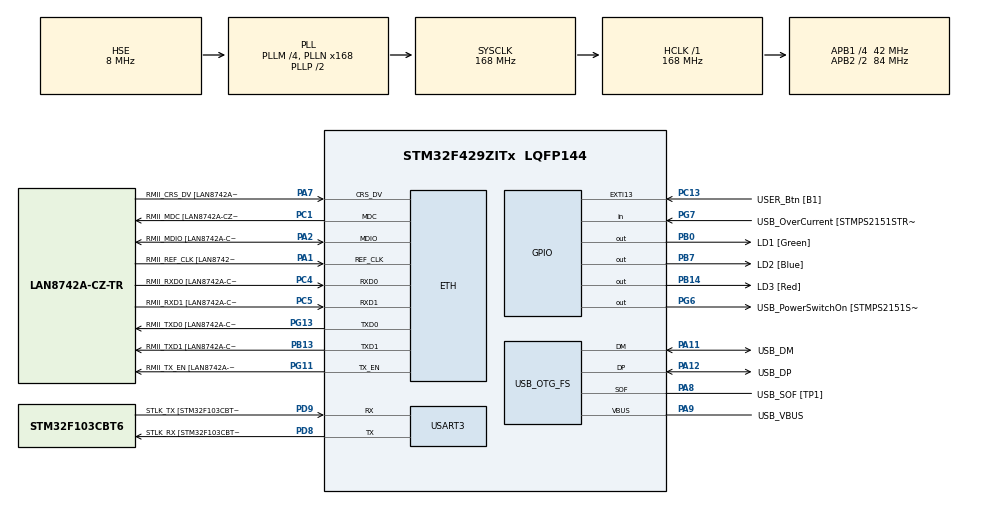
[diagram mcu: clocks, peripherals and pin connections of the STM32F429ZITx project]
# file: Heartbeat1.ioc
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ETH.MediaInterface=ETH_MEDIA_INTERFACE_RMII
ETH.PHY_Name=LAN8742A_PHY_ADDRESS
ETH.PHY_Value=0
ETH.PhyAddress=0
Mcu.Family=STM32F4
Mcu.Name=STM32F429ZITx
Mcu.Package=LQFP144
NVIC.PriorityGroup=NVIC_PRIORITYGROUP_4
PA1.GPIO_Label=RMII_REF_CLK [LAN8742A-CZ-TR_REFCLK0]
PA1.Mode=RMII
PA1.Signal=ETH_REF_CLK
PA10.GPIO_Label=USB_ID
PA10.Signal=USB_OTG_FS_ID
PA11.GPIO_Label=USB_DM
PA11.Mode=Device_Only
PA11.Signal=USB_OTG_FS_DM
PA12.GPIO_Label=USB_DP
PA12.Mode=Device_Only
PA12.Signal=USB_OTG_FS_DP
PA13.GPIO_Label=TMS
PA13.Mode=Serial_Wire
PA13.Signal=SYS_JTMS-SWDIO
PA14.GPIO_Label=TCK
PA14.Mode=Serial_Wire
PA14.Signal=SYS_JTCK-SWCLK
PA2.GPIO_Label=RMII_MDIO [LAN8742A-CZ-TR_MDIO]
PA2.Mode=RMII
PA2.Signal=ETH_MDIO
PA7.GPIO_Label=RMII_CRS_DV [LAN8742A-CZ-TR_CRS_DV]
PA7.Mode=RMII
PA7.Signal=ETH_CRS_DV
PA8.GPIO_Label=USB_SOF [TP1]
PA8.Mode=Activate_SOF_FS
PA8.Signal=USB_OTG_FS_SOF
PA9.GPIO_Label=USB_VBUS
PA9.Mode=Activate_VBUS
PA9.Signal=USB_OTG_FS_VBUS
PB0.GPIO_Label=LD1 [Green]
PB0.Signal=GPIO_Output
PB13.GPIO_Label=RMII_TXD1 [LAN8742A-CZ-TR_TXD1]
PB13.Mode=RMII
PB13.Signal=ETH_TXD1
PB14.GPIO_Label=LD3 [Red]
PB14.Signal=GPIO_Output
PB7.GPIO_Label=LD2 [Blue]
PB7.Signal=GPIO_Output
PC1.GPIO_Label=RMII_MDC [LAN8742A-CZ-TR_MDC]
PC1.Mode=RMII
PC1.Signal=ETH_MDC
PC13.GPIO_Label=USER_Btn [B1]
PC13.Signal=GPXTI13
PC14/OSC32_IN.Mode=LSE-External-Oscillator
PC14/OSC32_IN.Signal=RCC_OSC32_IN
PC15/OSC32_OUT.Mode=LSE-External-Oscillator
PC15/OSC32_OUT.Signal=RCC_OSC32_OUT
PC4.GPIO_Label=RMII_RXD0 [LAN8742A-CZ-TR_RXD0]
PC4.Mode=RMII
PC4.Signal=ETH_RXD0
PC5.GPIO_Label=RMII_RXD1 [LAN8742A-CZ-TR_RXD1]
PC5.Mode=RMII
PC5.Signal=ETH_RXD1
PD8.GPIO_Label=STLK_RX [STM32F103CBT6_PA3]
PD8.Mode=Asynchronous
PD8.Signal=USART3_TX
PD9.GPIO_Label=STLK_TX [STM32F103CBT6_PA2]
PD9.Mode=Asynchronous
PD9.Signal=USART3_RX
PG11.GPIO_Label=RMII_TX_EN [LAN8742A-CZ-TR_TXEN]
PG11.Mode=RMII
PG11.Signal=ETH_TX_EN
PG13.GPIO_Label=RMII_TXD0 [LAN8742A-CZ-TR_TXD0]
PG13.Mode=RMII
PG13.Signal=ETH_TXD0
PG6.GPIO_Label=USB_PowerSwitchOn [STMPS2151STR_EN]
PG6.Signal=GPIO_Output
PG7.GPIO_Label=USB_OverCurrent [STMPS2151STR_FAULT]
PG7.Signal=GPIO_Input
PH0/OSC_IN.GPIO_Label=MCO [STM32F103CBT6_PA8]
PH0/OSC_IN.Mode=HSE-External-Clock-Source
PH0/OSC_IN.Signal=RCC_OSC_IN
PH1/OSC_OUT.Mode=HSE-External-Clock-Source
PH1/OSC_OUT.Signal=RCC_OSC_OUT
ProjectManager.HeapSize=0x200
ProjectManager.StackSize=0x400
ProjectManager.TargetToolchain=TrueSTUDIO
RCC.48MHZClocksFreq_Value=48000000
RCC.AHBFreq_Value=168000000
RCC.APB1CLKDivider=RCC_HCLK_DIV4
RCC.APB1Freq_Value=42000000
RCC.APB1TimFreq_Value=84000000
RCC.APB2CLKDivider=RCC_HCLK_DIV2
RCC.APB2Freq_Value=84000000
RCC.APB2TimCLKDivider=2
RCC.APB2TimFreq_Value=168000000
RCC.CortexFreq_Value=168000000
RCC.HCLKFreq_Value=168000000
RCC.HSE_VALUE=8000000
RCC.HSI_VALUE=16000000
RCC.PLLM=4
RCC.PLLMUL=RCC_PLL_MUL9
RCC.PLLN=168
RCC.PLLQ=7
RCC.PRESCALERUSB=RCC_USBCLKSOURCE_PLL_DIV1_5
RCC.SYSCLKFreq_VALUE=168000000
RCC.SYSCLKSource=RCC_SYSCLKSOURCE_PLLCLK
RCC.SYSCLKSourceVirtual=RCC_SYSCLKSOURCE_PLLCLK
RCC.USBFreq_Value=48000000
RCC.VCOOutputFreq_Value=336000000
USART3.VirtualMode=VM_ASYNC
USB_OTG_FS.VirtualMode=Device_Only
board=NUCLEO-F429ZI

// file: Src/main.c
/* USER CODE BEGIN Header */
/**
  ******************************************************************************
  * @file           : main.c
  * @brief          : Main program body
  ******************************************************************************
  ** This notice applies to any and all portions of this file
  * that are not between comment pairs USER CODE BEGIN and
  * USER CODE END. Other portions of this file, whether
  * inserted by the user or by software development tools
  * are owned by their respective copyright owners.
  *
  * COPYRIGHT(c) 2019 STMicroelectronics
  *
  * Redistribution and use in source and binary forms, with or without modification,
  * are permitted provided that the following conditions are met:
  *   1. Redistributions of source code must retain the above copyright notice,
  *      this list of conditions and the following disclaimer.
  *   2. Redistributions in binary form must reproduce the above copyright notice,
  *      this list of conditions and the following disclaimer in the documentation
  *      and/or other materials provided with the distribution.
  *   3. Neither the name of STMicroelectronics nor the names of its contributors
  *      may be used to endorse or promote products derived from this software
  *      without specific prior written permission.
  *
  * THIS SOFTWARE IS PROVIDED BY THE COPYRIGHT HOLDERS AND CONTRIBUTORS "AS IS"
  * AND ANY EXPRESS OR IMPLIED WARRANTIES, INCLUDING, BUT NOT LIMITED TO, THE
  * IMPLIED WARRANTIES OF MERCHANTABILITY AND FITNESS FOR A PARTICULAR PURPOSE ARE
  * DISCLAIMED. IN NO EVENT SHALL THE COPYRIGHT HOLDER OR CONTRIBUTORS BE LIABLE
  * FOR ANY DIRECT, INDIRECT, INCIDENTAL, SPECIAL, EXEMPLARY, OR CONSEQUENTIAL
  * DAMAGES (INCLUDING, BUT NOT LIMITED TO, PROCUREMENT OF SUBSTITUTE GOODS OR
  * SERVICES; LOSS OF USE, DATA, OR PROFITS; OR BUSINESS INTERRUPTION) HOWEVER
  * CAUSED AND ON ANY THEORY OF LIABILITY, WHETHER IN CONTRACT, STRICT LIABILITY,
  * OR TORT (INCLUDING NEGLIGENCE OR OTHERWISE) ARISING IN ANY WAY OUT OF THE USE
  * OF THIS SOFTWARE, EVEN IF ADVISED OF THE POSSIBILITY OF SUCH DAMAGE.
  *
  ******************************************************************************
  */
/* USER CODE END Header */

#include "main.h"

ETH_HandleTypeDef heth;

UART_HandleTypeDef huart3;

PCD_HandleTypeDef hpcd_USB_OTG_FS;

void SystemClock_Config(void);
static void MX_GPIO_Init(void);
static void MX_ETH_Init(void);
static void MX_USART3_UART_Init(void);
static void MX_USB_OTG_FS_PCD_Init(void);

/* USER CODE BEGIN 0 */
void delay_LED()
{
	volatile int cpt = 0;
	for (volatile int i = 0; i < 10000000; i++);
	cpt++;
}
/* USER CODE END 0 */

int main(void)
{

  /* MCU Configuration--------------------------------------------------------*/

  /* Reset of all peripherals, Initializes the Flash interface and the Systick. */
  HAL_Init();

  /* Configure the system clock */
  SystemClock_Config();

  /* Initialize all configured peripherals */
  MX_GPIO_Init();
  MX_ETH_Init();
  MX_USART3_UART_Init();
  MX_USB_OTG_FS_PCD_Init();

  /* Infinite loop */
  /* USER CODE BEGIN WHILE */
  while (1)
  {
	  HAL_GPIO_WritePin(GPIOB, LD3_Pin, 1);
	  delay_LED();
	  HAL_GPIO_WritePin(GPIOB, LD2_Pin, 1);
	  delay_LED();
	  HAL_GPIO_WritePin(GPIOB, LD1_Pin, 1);
	  delay_LED();

	  HAL_GPIO_WritePin(GPIOB, LD3_Pin, 0);
	  delay_LED();
	  HAL_GPIO_WritePin(GPIOB, LD2_Pin, 0);
	  delay_LED();
	  HAL_GPIO_WritePin(GPIOB, LD1_Pin, 0);
	  delay_LED();
    /* USER CODE END WHILE */

  }
}

void SystemClock_Config(void)
{
  RCC_OscInitTypeDef RCC_OscInitStruct = {0};
  RCC_ClkInitTypeDef RCC_ClkInitStruct = {0};

  /**Configure the main internal regulator output voltage
  */
  __HAL_RCC_PWR_CLK_ENABLE();
  __HAL_PWR_VOLTAGESCALING_CONFIG(PWR_REGULATOR_VOLTAGE_SCALE1);
  /**Initializes the CPU, AHB and APB busses clocks
  */
  RCC_OscInitStruct.OscillatorType = RCC_OSCILLATORTYPE_HSE;
  RCC_OscInitStruct.HSEState = RCC_HSE_BYPASS;
  RCC_OscInitStruct.PLL.PLLState = RCC_PLL_ON;
  RCC_OscInitStruct.PLL.PLLSource = RCC_PLLSOURCE_HSE;
  RCC_OscInitStruct.PLL.PLLM = 4;
  RCC_OscInitStruct.PLL.PLLN = 168;
  RCC_OscInitStruct.PLL.PLLP = RCC_PLLP_DIV2;
  RCC_OscInitStruct.PLL.PLLQ = 7;
  if (HAL_RCC_OscConfig(&RCC_OscInitStruct) != HAL_OK)
  {
    Error_Handler();
  }
  /**Initializes the CPU, AHB and APB busses clocks
  */
  RCC_ClkInitStruct.ClockType = RCC_CLOCKTYPE_HCLK|RCC_CLOCKTYPE_SYSCLK
                              |RCC_CLOCKTYPE_PCLK1|RCC_CLOCKTYPE_PCLK2;
  RCC_ClkInitStruct.SYSCLKSource = RCC_SYSCLKSOURCE_PLLCLK;
  RCC_ClkInitStruct.AHBCLKDivider = RCC_SYSCLK_DIV1;
  RCC_ClkInitStruct.APB1CLKDivider = RCC_HCLK_DIV4;
  RCC_ClkInitStruct.APB2CLKDivider = RCC_HCLK_DIV2;

  if (HAL_RCC_ClockConfig(&RCC_ClkInitStruct, FLASH_LATENCY_5) != HAL_OK)
  {
    Error_Handler();
  }
}

static void MX_ETH_Init(void)
{

   uint8_t MACAddr[6] ;

  heth.Instance = ETH;
  heth.Init.AutoNegotiation = ETH_AUTONEGOTIATION_ENABLE;
  heth.Init.PhyAddress = LAN8742A_PHY_ADDRESS;
  MACAddr[0] = 0x00;
  MACAddr[1] = 0x80;
  MACAddr[2] = 0xE1;
  MACAddr[3] = 0x00;
  MACAddr[4] = 0x00;
  MACAddr[5] = 0x00;
  heth.Init.MACAddr = &MACAddr[0];
  heth.Init.RxMode = ETH_RXPOLLING_MODE;
  heth.Init.ChecksumMode = ETH_CHECKSUM_BY_HARDWARE;
  heth.Init.MediaInterface = ETH_MEDIA_INTERFACE_RMII;

  if (HAL_ETH_Init(&heth) != HAL_OK)
  {
    Error_Handler();
  }

}

static void MX_USART3_UART_Init(void)
{

  huart3.Instance = USART3;
  huart3.Init.BaudRate = 115200;
  huart3.Init.WordLength = UART_WORDLENGTH_8B;
  huart3.Init.StopBits = UART_STOPBITS_1;
  huart3.Init.Parity = UART_PARITY_NONE;
  huart3.Init.Mode = UART_MODE_TX_RX;
  huart3.Init.HwFlowCtl = UART_HWCONTROL_NONE;
  huart3.Init.OverSampling = UART_OVERSAMPLING_16;
  if (HAL_UART_Init(&huart3) != HAL_OK)
  {
    Error_Handler();
  }

}

static void MX_USB_OTG_FS_PCD_Init(void)
{

  hpcd_USB_OTG_FS.Instance = USB_OTG_FS;
  hpcd_USB_OTG_FS.Init.dev_endpoints = 4;
  hpcd_USB_OTG_FS.Init.speed = PCD_SPEED_FULL;
  hpcd_USB_OTG_FS.Init.dma_enable = DISABLE;
  hpcd_USB_OTG_FS.Init.ep0_mps = DEP0CTL_MPS_64;
  hpcd_USB_OTG_FS.Init.phy_itface = PCD_PHY_EMBEDDED;
  hpcd_USB_OTG_FS.Init.Sof_enable = ENABLE;
  hpcd_USB_OTG_FS.Init.low_power_enable = DISABLE;
  hpcd_USB_OTG_FS.Init.lpm_enable = DISABLE;
  hpcd_USB_OTG_FS.Init.vbus_sensing_enable = ENABLE;
  hpcd_USB_OTG_FS.Init.use_dedicated_ep1 = DISABLE;
  if (HAL_PCD_Init(&hpcd_USB_OTG_FS) != HAL_OK)
  {
    Error_Handler();
  }

}

static void MX_GPIO_Init(void)
{
  GPIO_InitTypeDef GPIO_InitStruct = {0};

  /* GPIO Ports Clock Enable */
  __HAL_RCC_GPIOC_CLK_ENABLE();
  __HAL_RCC_GPIOH_CLK_ENABLE();
  __HAL_RCC_GPIOA_CLK_ENABLE();
  __HAL_RCC_GPIOB_CLK_ENABLE();
  __HAL_RCC_GPIOD_CLK_ENABLE();
  __HAL_RCC_GPIOG_CLK_ENABLE();

  /*Configure GPIO pin Output Level */
  HAL_GPIO_WritePin(GPIOB, LD1_Pin|LD3_Pin|LD2_Pin, GPIO_PIN_RESET);

  /*Configure GPIO pin Output Level */
  HAL_GPIO_WritePin(USB_PowerSwitchOn_GPIO_Port, USB_PowerSwitchOn_Pin, GPIO_PIN_RESET);

  /*Configure GPIO pin : USER_Btn_Pin */
  GPIO_InitStruct.Pin = USER_Btn_Pin;
  GPIO_InitStruct.Mode = GPIO_MODE_IT_RISING;
  GPIO_InitStruct.Pull = GPIO_NOPULL;
  HAL_GPIO_Init(USER_Btn_GPIO_Port, &GPIO_InitStruct);

  /*Configure GPIO pins : LD1_Pin LD3_Pin LD2_Pin */
  GPIO_InitStruct.Pin = LD1_Pin|LD3_Pin|LD2_Pin;
  GPIO_InitStruct.Mode = GPIO_MODE_OUTPUT_PP;
  GPIO_InitStruct.Pull = GPIO_NOPULL;
  GPIO_InitStruct.Speed = GPIO_SPEED_FREQ_LOW;
  HAL_GPIO_Init(GPIOB, &GPIO_InitStruct);

  /*Configure GPIO pin : USB_PowerSwitchOn_Pin */
  GPIO_InitStruct.Pin = USB_PowerSwitchOn_Pin;
  GPIO_InitStruct.Mode = GPIO_MODE_OUTPUT_PP;
  GPIO_InitStruct.Pull = GPIO_NOPULL;
  GPIO_InitStruct.Speed = GPIO_SPEED_FREQ_LOW;
  HAL_GPIO_Init(USB_PowerSwitchOn_GPIO_Port, &GPIO_InitStruct);

  /*Configure GPIO pin : USB_OverCurrent_Pin */
  GPIO_InitStruct.Pin = USB_OverCurrent_Pin;
  GPIO_InitStruct.Mode = GPIO_MODE_INPUT;
  GPIO_InitStruct.Pull = GPIO_NOPULL;
  HAL_GPIO_Init(USB_OverCurrent_GPIO_Port, &GPIO_InitStruct);

}

void Error_Handler(void)
{
}

/************************ (C) COPYRIGHT STMicroelectronics *****END OF FILE****/
